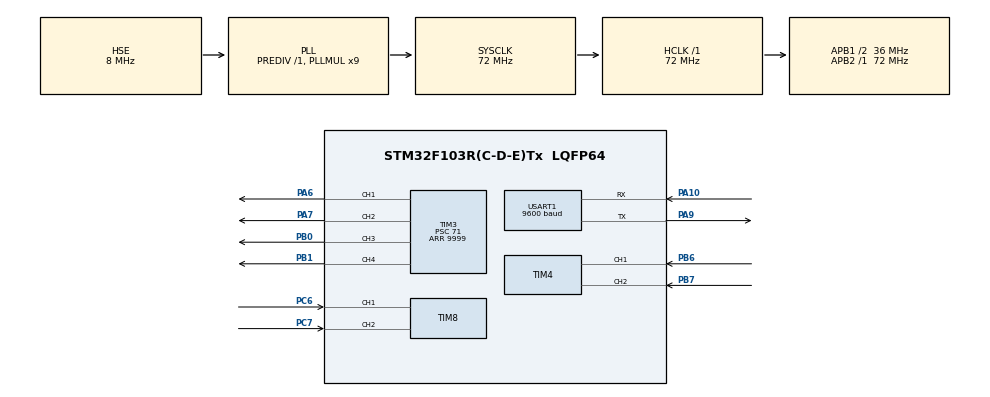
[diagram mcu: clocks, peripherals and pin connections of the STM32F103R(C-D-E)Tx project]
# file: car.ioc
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Mcu.Family=STM32F1
Mcu.Name=STM32F103R(C-D-E)Tx
Mcu.Package=LQFP64
NVIC.PriorityGroup=NVIC_PRIORITYGROUP_4
NVIC.TIM3_IRQn=true\:0\:0\:false\:false\:true\:true\:true\:true
NVIC.USART1_IRQn=true\:0\:0\:false\:false\:true\:true\:true\:true
PA10.Mode=Asynchronous
PA10.Signal=USART1_RX
PA6.GPIO_ModeDefaultPP=GPIO_MODE_AF_PP
PA6.Signal=S_TIM3_CH1
PA7.GPIO_ModeDefaultPP=GPIO_MODE_AF_PP
PA7.Signal=S_TIM3_CH2
PA9.Mode=Asynchronous
PA9.Signal=USART1_TX
PB0.GPIO_Speed=GPIO_SPEED_FREQ_LOW
PB0.Signal=S_TIM3_CH3
PB1.GPIO_Speed=GPIO_SPEED_FREQ_LOW
PB1.Signal=S_TIM3_CH4
PB6.GPIO_PuPd=GPIO_PULLUP
PB6.Signal=S_TIM4_CH1
PB7.GPIO_PuPd=GPIO_PULLUP
PB7.Signal=S_TIM4_CH2
PC14-OSC32_IN.Mode=LSE-External-Oscillator
PC14-OSC32_IN.Signal=RCC_OSC32_IN
PC15-OSC32_OUT.Mode=LSE-External-Oscillator
PC15-OSC32_OUT.Signal=RCC_OSC32_OUT
PC6.GPIO_PuPd=GPIO_PULLUP
PC6.Signal=S_TIM8_CH1
PC7.GPIO_PuPd=GPIO_PULLUP
PC7.Signal=S_TIM8_CH2
PD0-OSC_IN.Mode=HSE-External-Oscillator
PD0-OSC_IN.Signal=RCC_OSC_IN
PD1-OSC_OUT.Mode=HSE-External-Oscillator
PD1-OSC_OUT.Signal=RCC_OSC_OUT
ProjectManager.HeapSize=0x800
ProjectManager.StackSize=0x800
ProjectManager.TargetToolchain=STM32CubeIDE
RCC.AHBFreq_Value=72000000
RCC.APB1CLKDivider=RCC_HCLK_DIV2
RCC.APB1Freq_Value=36000000
RCC.APB1TimFreq_Value=72000000
RCC.APB2Freq_Value=72000000
RCC.APB2TimFreq_Value=72000000
RCC.HCLKFreq_Value=72000000
RCC.PLLMUL=RCC_PLL_MUL9
RCC.PLLSourceVirtual=RCC_PLLSOURCE_HSE
RCC.SYSCLKFreq_VALUE=72000000
RCC.SYSCLKSource=RCC_SYSCLKSOURCE_PLLCLK
RCC.USBFreq_Value=72000000
SH.S_TIM3_CH1.0=TIM3_CH1,PWM Generation1 CH1
SH.S_TIM3_CH2.0=TIM3_CH2,PWM Generation2 CH2
SH.S_TIM3_CH3.0=TIM3_CH3,PWM Generation3 CH3
SH.S_TIM3_CH4.0=TIM3_CH4,PWM Generation4 CH4
SH.S_TIM4_CH1.0=TIM4_CH1,Encoder_Interface
SH.S_TIM4_CH2.0=TIM4_CH2,Encoder_Interface
SH.S_TIM8_CH1.0=TIM8_CH1,Encoder_Interface
SH.S_TIM8_CH2.0=TIM8_CH2,Encoder_Interface
TIM3.AutoReloadPreload=TIM_AUTORELOAD_PRELOAD_ENABLE
TIM3.Channel-PWM\ Generation1\ CH1=TIM_CHANNEL_1
TIM3.Channel-PWM\ Generation2\ CH2=TIM_CHANNEL_2
TIM3.Channel-PWM\ Generation3\ CH3=TIM_CHANNEL_3
TIM3.Channel-PWM\ Generation4\ CH4=TIM_CHANNEL_4
TIM3.Period=9999
TIM3.Prescaler=71
TIM3.Pulse-PWM\ Generation1\ CH1=0
TIM3.Pulse-PWM\ Generation2\ CH2=0
TIM4.AutoReloadPreload=TIM_AUTORELOAD_PRELOAD_ENABLE
TIM4.EncoderMode=TIM_ENCODERMODE_TI12
TIM4.IC1Filter=6
TIM4.IC2Filter=6
TIM8.AutoReloadPreload=TIM_AUTORELOAD_PRELOAD_ENABLE
TIM8.EncoderMode=TIM_ENCODERMODE_TI12
TIM8.IC1Filter=6
TIM8.IC2Filter=6
USART1.BaudRate=9600
USART1.VirtualMode=VM_ASYNC
VP_SYS_VS_ND.Mode=No_Debug
VP_TIM3_VS_ClockSourceINT.Mode=Internal
board=custom

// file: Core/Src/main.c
/* USER CODE BEGIN Header */
/**
  ******************************************************************************
  * @file           : main.c
  * @brief          : Main program body
  ******************************************************************************
  * @attention
  *
  * Copyright (c) 2023 STMicroelectronics.
  * All rights reserved.
  *
  * This software is licensed under terms that can be found in the LICENSE file
  * in the root directory of this software component.
  * If no LICENSE file comes with this software, it is provided AS-IS.
  *
  ******************************************************************************
  */
/* USER CODE END Header */
#include "main.h"
#include "tim.h"
#include "usart.h"
#include "gpio.h"

/* USER CODE BEGIN Includes */
#include "niming.h"
#include "pid.h"
#include <stdio.h>
#include <string.h>
#include "cJSON.h"
#include <math.h>
/* USER CODE END Includes */

/* USER CODE BEGIN PD */
#define MAX_SPEED 4.5
#define MIN_SPEED 0
#define PI 3.141592653589793
/* USER CODE END PD */

/* USER CODE BEGIN PM */

short Encoder1Count = 0;
short Encoder2Count = 0;
uint8_t str[256];

float Motor1Speed = 0.00;
float Motor2Speed = 0.00;
int Motor1Pwm = 0;
int Motor2Pwm = 0;

uint16_t Timer1Count = 0;

extern tPid pidMotor1Speed, pidMotor2Speed;
extern Car wheel1, wheel2;

extern uint8_t usart1_ReadBuf[256];
extern uint8_t usart1_ReadBufCount;

float p, i, d, a;

/* USER CODE END PM */

void SystemClock_Config(void);

/* USER CODE BEGIN 0 */

void Show_Info()
{
		sprintf((char*)str,
		"Motor1Speed : %2f Motor2Speed : %2f\r\n Motor1Pwm : %d Motor2Pwm : %d\r\n",
		 Motor1Speed,	   Motor2Speed,		 Motor1Pwm,		Motor1Pwm);
	HAL_UART_Transmit(&huart1, str, sizeof(str), 100);
}

void Show_Info_Car(Car *pid)
{
	sprintf((char*)str,
		"target_pos : %2f actual_pos : %2f\r\n err : \r\n",
		 pid->target_pos,	   pid->actual_pos);
	HAL_UART_Transmit(&huart1, str, sizeof(str), 100);
}

int XianFu_PWM(int pwm)
{
	if (pwm >= 10000)
	{
		pwm = 10000;
	}
	else if (pwm <= -10000)
	{
		pwm = -10000;
	}
	return pwm;
}

void Motor_Left(int pwm)
{
	if (pwm > 0) // forward
	{
		__HAL_TIM_SET_COMPARE(&htim3, TIM_CHANNEL_1, pwm);
		__HAL_TIM_SET_COMPARE(&htim3, TIM_CHANNEL_2, 0);
	}
	else if(pwm < 0) //back
	{
		__HAL_TIM_SET_COMPARE(&htim3, TIM_CHANNEL_1, 0);
		__HAL_TIM_SET_COMPARE(&htim3, TIM_CHANNEL_2, -pwm);
	}
	else // stop
	{
		__HAL_TIM_SET_COMPARE(&htim3, TIM_CHANNEL_1, 0);
		__HAL_TIM_SET_COMPARE(&htim3, TIM_CHANNEL_2, 0);
	}
}

void Motor_Right(int pwm)
{
	pwm = -pwm;
	if (pwm > 0) // forward
	{
		__HAL_TIM_SET_COMPARE(&htim3, TIM_CHANNEL_3, pwm);
		__HAL_TIM_SET_COMPARE(&htim3, TIM_CHANNEL_4, 0);
	}
	else if(pwm < 0) //back
	{
		__HAL_TIM_SET_COMPARE(&htim3, TIM_CHANNEL_3, 0);
		__HAL_TIM_SET_COMPARE(&htim3, TIM_CHANNEL_4, -pwm);
	}
	else // stop
	{
		__HAL_TIM_SET_COMPARE(&htim3, TIM_CHANNEL_3, 0);
		__HAL_TIM_SET_COMPARE(&htim3, TIM_CHANNEL_4, 0);
	}
}

void Motor_Control(int pwm1, int pwm2)
{
	// if (pwm1 == pwm2 ) go straight
	// if (pwm1 > pwm2) turn right
	// if (pwm1 < pwm2) turn left
	Motor_Left(pwm1);
	Motor_Right(pwm2);

}

//MotorPidSetSpeed(3, 4);//turn left
//MotorPidSetSpeed(4, 3);//turn right
//MotorPidSetSpeed(4, 4);//forward
//MotorPidSetSpeed(-3, -3);//backward
void MotorPidSetSpeed(float Motor1SetSpeed, float Motor2SetSpeed)
{
	//Set pid target speed
	pidMotor1Speed.target_val = Motor1SetSpeed;
	pidMotor2Speed.target_val = Motor2SetSpeed;

	Motor_Control(PID_realize(&pidMotor1Speed, Motor1Speed), PID_realize(&pidMotor2Speed, Motor2Speed));
}

void MotorPidSpeedUp(void)
{
	static float motor_Speed_Up = 2;
	if (motor_Speed_Up < MAX_SPEED)
	{
		motor_Speed_Up += 0.5;
		MotorPidSetSpeed(motor_Speed_Up, motor_Speed_Up);
	}
}

void MotorPidSpeedDown(void)
{
	static float motor_Speed_Down = 4;
	if (motor_Speed_Down > MIN_SPEED)
	{
		motor_Speed_Down -= 0.5;
		MotorPidSetSpeed(motor_Speed_Down, motor_Speed_Down);
	}
}

void stop(void)
{
	pidMotor1Speed.target_val = 0;
	pidMotor2Speed.target_val = 0;
	Motor_Control(0, 0);
}

//void MoveTo(int des, int act)
//{
//	if (des * 1560 )
//}

void HAL_TIM_PeriodElapsedCallback(TIM_HandleTypeDef *htim)
{
	if (htim->Instance == TIM3) // 1000hz 10ms
	{
		static int Moto1 = 0, Moto2 = 0;
		Timer1Count++;
		if (Timer1Count % 1 == 0)
		{
			Encoder1Count = (short)__HAL_TIM_GET_COUNTER(&htim4);
			Encoder2Count = -(short)__HAL_TIM_GET_COUNTER(&htim8);

			Motor1Speed = (float)Encoder1Count * 100 / 30 / 13 / 4;
			Motor2Speed = (float)Encoder2Count * 100 / 1560;
			__HAL_TIM_SET_COUNTER(&htim4, 0);
			__HAL_TIM_SET_COUNTER(&htim8, 0);
			//Show_Info();

		}
		if (Timer1Count % 2 == 0) //20ms
		{
			Moto1 = PID_realize(&pidMotor1Speed, Motor1Speed);
			Moto2 = PID_realize(&pidMotor2Speed, Motor2Speed);
			Moto1 = XianFu_PWM(Moto1);
			Moto2 = XianFu_PWM(Moto2);
			Motor_Control(Moto1, Moto2);
			Timer1Count = 0;
		}

		//	static int Moto1 = 0, Moto2 = 0;
		//	if (htim->Instance == TIM3)
		//	{
		//		Encoder1Count = (short)__HAL_TIM_GET_COUNTER(&htim4);
		//		Encoder2Count = -(short)__HAL_TIM_GET_COUNTER(&htim8);
		//		Moto1 = Position_PID(&wheel1, 0, Encoder1Count);
		//		Moto2 = Position_PID(&wheel2, 10, Encoder2Count);
		//		Moto1 = XianFu_PWM(Moto1);
		//		Moto2 = XianFu_PWM(Moto2);
		//		Motor_Control(Moto1, Moto2);
		//	}
	}
}

uint8_t Usart_WaitReasFinish(void)
{
	static uint8_t Usart_LastReadCount = 0;

	if (usart1_ReadBufCount == 0)
	{
		Usart_LastReadCount = 0;
		return 1;
	}
	else if (Usart_LastReadCount == usart1_ReadBufCount)
	{
		Usart_LastReadCount = 0;
		usart1_ReadBufCount = 0;
		return 0;
	}
	else
	{
		Usart_LastReadCount = usart1_ReadBufCount;
		return 2;
	}
}

/* USER CODE END 0 */

int main(void)
{

  /* MCU Configuration--------------------------------------------------------*/

  /* Reset of all peripherals, Initializes the Flash interface and the Systick. */
  HAL_Init();

  /* Configure the system clock */
  SystemClock_Config();

  /* Initialize all configured peripherals */
  MX_GPIO_Init();
  MX_TIM3_Init();
  MX_USART1_UART_Init();
  MX_TIM4_Init();
  MX_TIM8_Init();
  /* USER CODE BEGIN 2 */

	HAL_TIM_PWM_Start(&htim3, TIM_CHANNEL_1);
	HAL_TIM_PWM_Start(&htim3, TIM_CHANNEL_2);
	HAL_TIM_PWM_Start(&htim3, TIM_CHANNEL_3);
	HAL_TIM_PWM_Start(&htim3, TIM_CHANNEL_4);

	HAL_TIM_Encoder_Start(&htim4, TIM_CHANNEL_1);
	HAL_TIM_Encoder_Start(&htim4, TIM_CHANNEL_2);
	HAL_TIM_Encoder_Start(&htim8, TIM_CHANNEL_1);
	HAL_TIM_Encoder_Start(&htim8, TIM_CHANNEL_2);

	HAL_TIM_Base_Start_IT(&htim3);

	__HAL_UART_ENABLE_IT(&huart1, UART_IT_RXNE);

	PID_init();

	cJSON *cJsonData, *cJsonValue;

//	4
//0.288 0.518 0.853 1.214 1.549 1.836 2.073 2.266 2.421 2.546 2.647 2.728 2.793 2.845 2.885 2.916 2.938 2.952
//4.000 4.000 4.000 4.000 4.000 4.000 4.000 4.000 4.000 4.000 4.000 4.000 4.000 4.000 4.000 4.000 4.000 4.000
//143.059 147.399 155.357 166.570 179.954 194.603 210.157 225.892 241.626 256.637 270.744 283.947 295.884 306.373 315.235 322.470 327.895 331.693
//
//3
//0.216 0.389 0.640 0.911 1.161 1.377 1.555 1.699 1.816 1.909 1.985 2.046 2.095 2.134 2.164 2.187 2.203 2.214
//3.000 3.000 3.000 3.000 3.000 3.000 3.000 3.000 3.000 3.000 3.000 3.000 3.000 3.000 3.000 3.000 3.000 3.000
//190.745 196.532 207.143 222.093 239.938 259.471 280.209 301.189 322.168 342.183 360.992 378.596 394.511 408.498 420.314 429.959 437.194 442.258
//
//3.5
//0.252 0.453 0.747 1.062 1.355 1.606 1.814 1.983 2.118 2.228 2.316 2.387 2.444 2.489 2.525 2.551 2.571 2.583
//3.500 3.500 3.500 3.500 3.500 3.500 3.500 3.500 3.500 3.500 3.500 3.500 3.500 3.500 3.500 3.500 3.500 3.500
//163.496 168.456 177.551 190.366 205.661 222.404 240.179 258.162 276.144 293.300 309.422 324.511 338.153 350.141 360.269 368.537 374.738 379.078

//	6
//	0.432, 0.777, 1.280, 1.821, 2.323, 2.754, 3.110, 3.399, 3.631, 3.819, 3.970, 4.092, 4.189, 4.267, 4.328, 4.374, 4.407, 4.428
//	6.000, 6.000, 6.000, 6.000, 6.000, 6.000, 6.000, 6.000, 6.000, 6.000, 6.000, 6.000, 6.000, 6.000, 6.000, 6.000, 6.000, 6.000
//	95.372, 98.266, 103.571, 111.047, 119.969, 129.735, 140.105, 150.594, 161.084, 171.092, 180.496, 189.298, 197.256, 204.249, 210.157, 214.980, 218.597, 221.129
//
//	5.5
//	0.396, 0.712, 1.173, 1.670, 2.129, 2.524, 2.851, 3.115, 3.329, 3.500, 3.639, 3.751, 3.840, 3.911, 3.967, 4.009, 4.040, 4.059
//	5.500, 5.500, 5.500, 5.500, 5.500, 5.500, 5.500, 5.500, 5.500, 5.500, 5.500, 5.500, 5.500, 5.500, 5.500, 5.500, 5.500, 5.500
//	104.043, 107.199, 112.987, 121.142, 130.875, 141.530, 152.841, 164.285, 175.728, 186.645, 196.905, 206.507, 215.188, 222.817, 229.262, 234.523, 238.469, 241.232
//
//	5
//	0.360, 0.648, 1.067, 1.518, 1.936, 2.295, 2.591, 2.832, 3.026, 3.182, 3.308, 3.410, 3.491, 3.556, 3.607, 3.645, 3.672, 3.690
//	5.000, 5.000, 5.000, 5.000, 5.000, 5.000, 5.000, 5.000, 5.000, 5.000, 5.000, 5.000, 5.000, 5.000, 5.000, 5.000, 5.000, 5.000
//	114.447, 117.919, 124.286, 133.256, 143.963, 155.682, 168.125, 180.713, 193.301, 205.310, 216.595, 227.158, 236.707, 245.099, 252.188, 257.976, 262.316, 265.355

	//double LSpeed[18] = { 0.288, 0.518, 0.853, 1.214, 1.549, 1.836, 2.073, 2.266, 2.421, 2.546, 2.647, 2.728, 2.793, 2.845, 2.885, 2.916, 2.938, 3 };
	//double LSpeed[18] = { 0.288, 0.518, 0.853, 1.214, 1.549, 1.836, 2.073, 2.266, 2.421, 2.546, 2.647, 2.728, 2.793, 2.845, 2.885, 2.916, 2.938, 3 };

	//int time[18] = { 143, 147, 155, 166, 179, 194, 210, 225, 241, 256, 270, 283, 295, 306, 315, 322, 327, 331 };

//	//						1		2	3	  4	   5	6	  7		8	  9		10		11		12	  13	14		15		16		17	18    	19  20    21 	22  23   24
//	double LSpeed[24] = { 0.288, 0.518, 1.3, 1.3, 1.6, 1.736, 2, 2.166, 2.221, 2.346, 2.347, 2.528, 2.6, 2.75, 2.78, 2.90, 3.0, 3.1, 3.0, 3.4, 3.4, 3.4 };//3.65, 3.7 };
//	int time[24] = { 143, 147, 155, 166, 179, 194, 210, 225, 241, 256, 270, 283, 295, 306, 315, 322, 327, 331, 340, 350, 150, 150};//, 200, 200};
//	//				  1		2	3	 4	  5		6	7    8	  9		10	11	 12	 13		14	15	16	  17	18	19	20	  21	22  23	24

	//						1		2	3	  4	   5	6	  7		8	  9		10		11		12	  13	14		15		16		17	18    	19  20    21 	22  23   24
//	double LSpeed[22] = { 0.306, 0.612, 1.073, 1.60, 2.129, 2.524, 2.71, 2.715, 2.729, 2.8, 3.039, 3.01, 3.140, 3.351, 3.5, 3.4, 3.35, 3.3, 3.8, 4.0, 4.3, 4.0 };
//	int time[22] = { 104, 107, 112, 121, 130, 141, 152, 164, 175, 186, 196, 206, 215, 222, 229, 234, 238, 241, 250, 300, 200, 350 };
//
//	int t = 0;
//	while (t<22)
//	{
//		ANO_DT_Send_F2(Motor1Speed * 100, 3.0 * 100, Motor2Speed * 100, 3.0 * 100);
//		MotorPidSetSpeed(0,3);
//		HAL_Delay(time[t]);
//		stop();
//		HAL_Delay(20);
//		t++;
//	}

//	MotorPidSetSpeed(3, 4);//when Speed is 4 !!!
//	HAL_Delay(200);
	stop();

  /* USER CODE END 2 */

  /* Infinite loop */
  while (1)
  {

    /* USER CODE BEGIN 3 */
//
//	  if (Motor1Speed < 3.9)
//	  {
//		  Motor1Pwm += 100;
//	  }
//	  else if (Motor1Speed > 4.1)
//	  {
//		  Motor1Pwm -= 100;
//	  }
//
//	  if (Motor2Speed < 3.9)
//	  {
//		  Motor2Pwm += 100;
//	  }
//	  else if (Motor2Speed > 4.1)
//	  {
//		  Motor2Pwm -= 100;
//	  }
//	  if (Motor1Pwm > MaxPwm) Motor1Pwm = MaxPwm;
//	  if (Motor2Pwm > MaxPwm) Motor2Pwm = MaxPwm;
//	  if (Motor1Pwm < MinPwm) Motor1Pwm = MinPwm;
//	  if (Motor2Pwm < MinPwm) Motor2Pwm = MinPwm;

//	  Show_Info_Car(&wheel2);
//	  Show_Info();

//	  //MotorPidSetSpeed(3, 4);//turn left
//	  //MotorPidSetSpeed(4, 3);//turn right
//	  //MotorPidSetSpeed(4, 4);//forward
//	  //MotorPidSetSpeed(-3, -3);//backward
//	  //MotorPidSpeedUp();

	  //ANO_DT_Send_F2(wheel1.actual_pos / 1560 * 100, 3.0 * 100, wheel2.actual_pos / 1560 * 100, 3.0 * 100);

	  ANO_DT_Send_F2(Motor1Speed * 100, 3.0 * 100, Motor2Speed * 100, 3.0 * 100);
	  MotorPidSetSpeed(4, 3);
	  //Motor_Control(0, 10000);

	  if (Usart_WaitReasFinish() == 0)
	  {
		  cJsonData = cJSON_Parse((const char *)usart1_ReadBuf);

		  if (cJSON_GetObjectItem(cJsonData, "p") != NULL)
		  {
			  cJsonValue = cJSON_GetObjectItem(cJsonData, "p");
			  p = cJsonValue->valuedouble;
			  pidMotor1Speed.Kp = p;
		  }
		  if (cJSON_GetObjectItem(cJsonData, "i") != NULL)
		  {
			  cJsonValue = cJSON_GetObjectItem(cJsonData, "i");
			  i = cJsonValue->valuedouble;
			  pidMotor1Speed.Ki = i;
		  }
		  if (cJSON_GetObjectItem(cJsonData, "d") != NULL)
		  {
			  cJsonValue = cJSON_GetObjectItem(cJsonData, "d");
			  d = cJsonValue->valuedouble;
			  pidMotor1Speed.Kd = d;
		  }
		  if (cJSON_GetObjectItem(cJsonData, "a") != NULL)
		  {
			  cJsonValue = cJSON_GetObjectItem(cJsonData, "a");
			  a = cJsonValue->valuedouble;
			  pidMotor1Speed.target_val = a;
		  }
		  if (cJsonData != NULL)
		  {
			  cJSON_Delete(cJsonData);
		  }
		  memset(usart1_ReadBuf, 0, 255);
	  }
	  //printf("P:%3f I:%3f D:%3f A:%3f\r\n", p, i, d, a);
	  sprintf((char*)str, "P:%3f I:%3f D:%3f A:%3f\r\n", p, i, d, a);
//	  HAL_UART_Transmit(&huart1, str, sizeof(str), 100);
  }
  /* USER CODE END 3 */
}

void SystemClock_Config(void)
{
  RCC_OscInitTypeDef RCC_OscInitStruct = {0};
  RCC_ClkInitTypeDef RCC_ClkInitStruct = {0};

  /** Initializes the RCC Oscillators according to the specified parameters
  * in the RCC_OscInitTypeDef structure.
  */
  RCC_OscInitStruct.OscillatorType = RCC_OSCILLATORTYPE_HSE;
  RCC_OscInitStruct.HSEState = RCC_HSE_ON;
  RCC_OscInitStruct.HSEPredivValue = RCC_HSE_PREDIV_DIV1;
  RCC_OscInitStruct.HSIState = RCC_HSI_ON;
  RCC_OscInitStruct.PLL.PLLState = RCC_PLL_ON;
  RCC_OscInitStruct.PLL.PLLSource = RCC_PLLSOURCE_HSE;
  RCC_OscInitStruct.PLL.PLLMUL = RCC_PLL_MUL9;
  if (HAL_RCC_OscConfig(&RCC_OscInitStruct) != HAL_OK)
  {
    Error_Handler();
  }

  /** Initializes the CPU, AHB and APB buses clocks
  */
  RCC_ClkInitStruct.ClockType = RCC_CLOCKTYPE_HCLK|RCC_CLOCKTYPE_SYSCLK
                              |RCC_CLOCKTYPE_PCLK1|RCC_CLOCKTYPE_PCLK2;
  RCC_ClkInitStruct.SYSCLKSource = RCC_SYSCLKSOURCE_PLLCLK;
  RCC_ClkInitStruct.AHBCLKDivider = RCC_SYSCLK_DIV1;
  RCC_ClkInitStruct.APB1CLKDivider = RCC_HCLK_DIV2;
  RCC_ClkInitStruct.APB2CLKDivider = RCC_HCLK_DIV1;

  if (HAL_RCC_ClockConfig(&RCC_ClkInitStruct, FLASH_LATENCY_2) != HAL_OK)
  {
    Error_Handler();
  }
}

void Error_Handler(void)
{
  __disable_irq();
  while (1)
  {
  }
}
